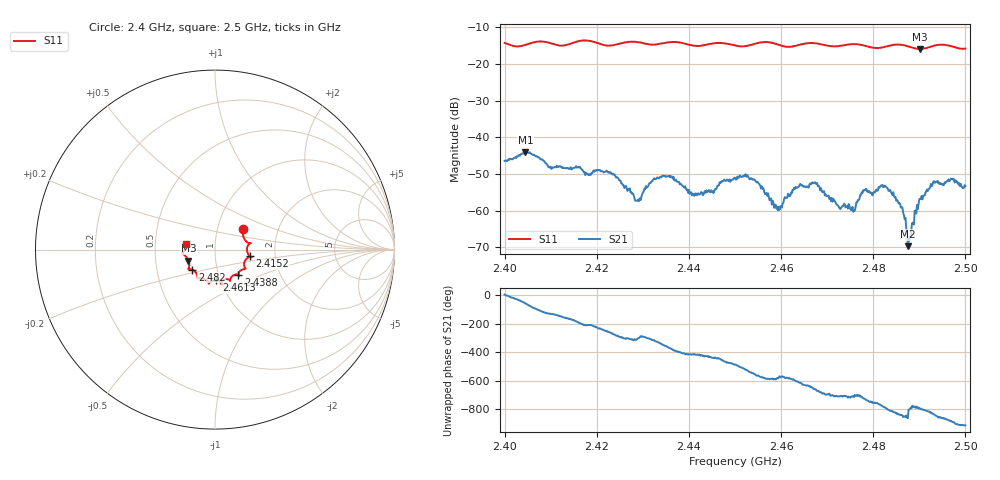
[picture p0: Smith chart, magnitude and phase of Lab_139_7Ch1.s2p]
# Hz S RI R 50
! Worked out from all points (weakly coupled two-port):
!   601 points, 2.4 GHz to 2.5 GHz, reference 50 ohm
!   highest |S21| = -44.06 dB at 2.4045 GHz (marker M1); lowest = -69.7 dB at 2.4875 GHz (marker M2)
!   lowest |S11| = -15.9 dB at 2.4902 GHz (marker M3), VSWR 1.38, Z = 36.9 - j4.64 ohm
!   |S11| at or under -10 dB: start of sweep to end of sweep
!   S12 and S22 are empty: the file has one direction only
!   S11 on the Smith chart (normalised r, x): 2.4 GHz: 1.33, +0.31; 2.4152 GHz: 1.48, -0.11; 2.4388 GHz: 1.24, -0.36; 2.4613 GHz: 0.96, -0.34; 2.482 GHz: 0.76, -0.17; 2.5 GHz: 0.72, +0.05
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2.4e9  0.1579 0.1123  0.00475 0.000502  0 0  0 0
2.4045e9  0.1771 0.0425  0.00346 -0.00523  0 0  0 0
2.415167e9  0.1939 -0.0374  -0.00383 -0.000234  0 0  0 0
2.416667e9  0.2035 -0.0438  -0.00345 0.00128  0 0  0 0
2.4235e9  0.1618 -0.0788  0.000144 0.00312  0 0  0 0
2.428667e9  0.1696 -0.1058  0.000902 0.00103  0 0  0 0
2.433333e9  0.1323 -0.1313  0.00244 0.00138  0 0  0 0
2.438833e9  0.1298 -0.1406  0.00143 -0.00157  0 0  0 0
2.45e9  0.0689 -0.1649  -0.00173 -0.00223  0 0  0 0
2.4545e9  0.0339 -0.1869  -0.00236 0.000871  0 0  0 0
2.459167e9  0.0323 -0.1826  -0.000856 0.000755  0 0  0 0
2.461333e9  0.0076 -0.1714  -0.00114 0.000974  0 0  0 0
2.466667e9  -0.0349 -0.19  0.000755 0.00224  0 0  0 0
2.4755e9  -0.0941 -0.1612  0.00112 0.000135  0 0  0 0
2.478e9  -0.0979 -0.1497  0.00187 -0.000198  0 0  0 0
2.482e9  -0.126 -0.1117  0.00109 -0.00196  0 0  0 0
2.483333e9  -0.1397 -0.1089  0.000139 -0.00185  0 0  0 0
2.486167e9  -0.1483 -0.1064  -0.000595 -0.000953  0 0  0 0
2.4875e9  -0.1446 -0.0978  -0.000267 -0.000192  0 0  0 0
2.490167e9  -0.148 -0.0613  0.000255 -0.00144  0 0  0 0
2.4935e9  -0.178 -0.0242  -0.00142 -0.00195  0 0  0 0
2.5e9  -0.1589 0.0324  -0.0021 0.000552  0 0  0 0
